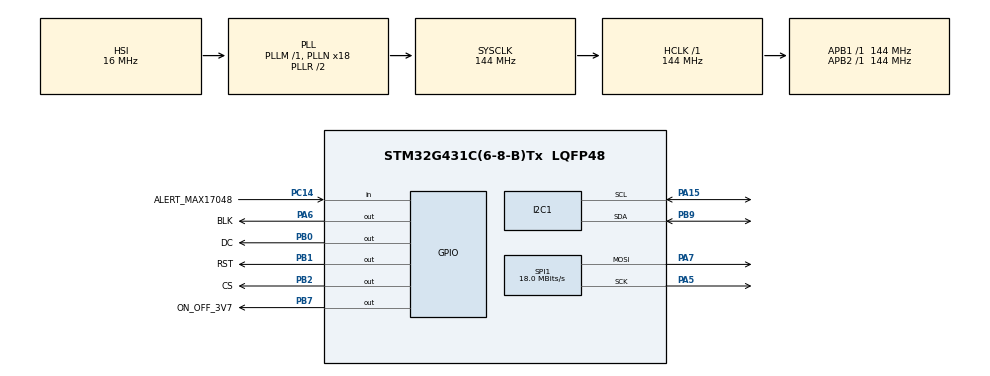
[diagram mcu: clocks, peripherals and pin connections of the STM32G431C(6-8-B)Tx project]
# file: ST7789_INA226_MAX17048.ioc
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I2C1.Timing=0x20B0D9FF
Mcu.Family=STM32G4
Mcu.Name=STM32G431C(6-8-B)Tx
Mcu.Package=LQFP48
NVIC.PriorityGroup=NVIC_PRIORITYGROUP_4
PA13.Mode=Serial_Wire
PA13.Signal=SYS_JTMS-SWDIO
PA14.Mode=Serial_Wire
PA14.Signal=SYS_JTCK-SWCLK
PA15.Mode=I2C
PA15.Signal=I2C1_SCL
PA5.Mode=TX_Only_Simplex_Unidirect_Master
PA5.Signal=SPI1_SCK
PA6.GPIO_Label=BLK
PA6.PinState=GPIO_PIN_SET
PA6.Signal=GPIO_Output
PA7.Mode=TX_Only_Simplex_Unidirect_Master
PA7.Signal=SPI1_MOSI
PB0.GPIO_Label=DC
PB0.GPIO_Speed=GPIO_SPEED_FREQ_VERY_HIGH
PB0.Signal=GPIO_Output
PB1.GPIO_Label=RST
PB1.GPIO_PuPd=GPIO_NOPULL
PB1.GPIO_Speed=GPIO_SPEED_FREQ_VERY_HIGH
PB1.Signal=GPIO_Output
PB2.GPIO_Label=CS
PB2.GPIO_PuPd=GPIO_NOPULL
PB2.GPIO_Speed=GPIO_SPEED_FREQ_VERY_HIGH
PB2.PinState=GPIO_PIN_SET
PB2.Signal=GPIO_Output
PB7.GPIO_Label=ON_OFF_3V7
PB7.Signal=GPIO_Output
PB9.Mode=I2C
PB9.Signal=I2C1_SDA
PC14-OSC32_IN.GPIO_Label=ALERT_MAX17048
PC14-OSC32_IN.Signal=GPIO_Input
PF0-OSC_IN.Mode=HSE-External-Oscillator
PF0-OSC_IN.Signal=RCC_OSC_IN
PF1-OSC_OUT.Mode=HSE-External-Oscillator
PF1-OSC_OUT.Signal=RCC_OSC_OUT
ProjectManager.HeapSize=0x200
ProjectManager.StackSize=0x400
ProjectManager.TargetToolchain=STM32CubeIDE
RCC.ADC12Freq_Value=144000000
RCC.AHBFreq_Value=144000000
RCC.APB1Freq_Value=144000000
RCC.APB1TimFreq_Value=144000000
RCC.APB2Freq_Value=144000000
RCC.APB2TimFreq_Value=144000000
RCC.CortexFreq_Value=144000000
RCC.EXTERNAL_CLOCK_VALUE=12288000
RCC.HCLKFreq_Value=144000000
RCC.HSE_VALUE=20000000
RCC.HSI48_VALUE=48000000
RCC.HSI_VALUE=16000000
RCC.LSE_VALUE=32768
RCC.PLLN=18
RCC.SYSCLKFreq_VALUE=144000000
RCC.SYSCLKSource=RCC_SYSCLKSOURCE_PLLCLK
RCC.USBFreq_Value=144000000
RCC.VCOOutputFreq_Value=288000000
SPI1.BaudRatePrescaler=SPI_BAUDRATEPRESCALER_8
SPI1.CLKPhase=SPI_PHASE_2EDGE
SPI1.CLKPolarity=SPI_POLARITY_HIGH
SPI1.CalculateBaudRate=18.0 MBits/s
SPI1.DataSize=SPI_DATASIZE_8BIT
SPI1.Direction=SPI_DIRECTION_2LINES
SPI1.Mode=SPI_MODE_MASTER
SPI1.VirtualType=VM_MASTER
board=custom

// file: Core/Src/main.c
/* USER CODE BEGIN Header */
/**
  ******************************************************************************
  * @file           : main.c
  * @brief          : Main program body
  ******************************************************************************
  * @attention
  *
  * Copyright (c) 2025 STMicroelectronics.
  * All rights reserved.
  *
  * This software is licensed under terms that can be found in the LICENSE file
  * in the root directory of this software component.
  * If no LICENSE file comes with this software, it is provided AS-IS.
  *
  ******************************************************************************
  */
/* USER CODE END Header */
#include "main.h"

/* USER CODE BEGIN Includes */
#include "stdio.h"
#include "Anglas_ST7789.h"
#include "fonts.h"
#include "math.h"
#include "bitmap.h"

#include "Anglas_MAX17048.h"
#include "Anglas_INA226.h"

/* USER CODE END Includes */

I2C_HandleTypeDef hi2c1;

SPI_HandleTypeDef hspi1;

/* USER CODE BEGIN PV */
uint16_t contInt=0;
float contFloat=0.0;
char buff[32];
float soc,voltage,current;

/* USER CODE END PV */

void SystemClock_Config(void);
static void MX_GPIO_Init(void);
static void MX_SPI1_Init(void);
static void MX_I2C1_Init(void);

int main(void)
{

  /* MCU Configuration--------------------------------------------------------*/

  /* Reset of all peripherals, Initializes the Flash interface and the Systick. */
  HAL_Init();

  /* Configure the system clock */
  SystemClock_Config();

  /* Initialize all configured peripherals */
  MX_GPIO_Init();
  MX_SPI1_Init();
  MX_I2C1_Init();
  /* USER CODE BEGIN 2 */
  ST7789_Init();
  ST7789_rotation(4);
  //ST7789_DrawImage(0, 0, 240, 135, img2);
  ST7789_FillScreen(ST7789_BLUE);

  MAX17048_Init();
  //MAX17048_Reset();
  //subir 1 vez, luego calibrar(conectando una carga ala bateria) en 4.16V de 97% y obtenido esto comentar esta linea y volver a subir y queda
  //MAX17048_QuickStart();
  //no es necesario hacer todo lo anterior, max170478 funciona 3.6v-4.2V 0-100% es asi de fabrica
  MAX17048_SetAlertThreshold(1);

  INA226_Init(3.2768,25,AVG_4,T_Vbus_8_244ms,T_Vshunt_8_244ms,MODE_SHUNT_BUS_CONTINUOUS);

  INA226_Mode_pinAlert(SHUNT_VOLTAGE_OVER);//superar la CORRIENTE de
  INA226_Alert_Limit(1000);//escribo el umbral para activar el pin alert

  /* USER CODE END 2 */

  /* Infinite loop */
  /* USER CODE BEGIN WHILE */
  while (1)
  {

	  float voltage_bat = MAX17048_GetVoltage();
	  sprintf(buff,"VOLTAGE: %1.2fV",voltage_bat);
	  ST7789_print(40, 50, RGB565(0, 255, 0) , RGB565(0, 0, 0) , 1, &Font_11x18, 1, buff);

	  soc = MAX17048_GetSoc();
	  sprintf(buff,"%3i%%",(uint8_t)soc);
	  ST7789_print(140, 5, RGB565(0, 0, 255) , RGB565(255, 255, 255) , 1, &Font_16x28, 1, buff);

	  ///////////////////
	  voltage = INA226_Vbus();
	  sprintf(buff,"V:%2.1fV ",voltage);
	  ST7789_print(0, 90, RGB565(255, 255, 0) , RGB565(0, 0, 0) , 1, &Font_11x18, 2, buff);

	  current = INA226_Current();
	  sprintf(buff,"I:%4.0fmA",current);
	  ST7789_print(0, 130, RGB565(255, 0, 255) , RGB565(0, 0, 0) , 1, &Font_11x18, 2, buff);

	  if(HAL_GPIO_ReadPin(ALERT_MAX17048_GPIO_Port, ALERT_MAX17048_Pin)==1){
		  ST7789_print(200, 130, RGB565(255, 0, 255) , RGB565(0, 0, 0) , 1, &Font_11x18, 2, "ON ");
	  }else{
		  ST7789_print(200, 130, RGB565(255, 0, 255) , RGB565(0, 0, 0) , 1, &Font_11x18, 2, "OFF");
	  }

    /* USER CODE END WHILE */

  }
}

void SystemClock_Config(void)
{
  RCC_OscInitTypeDef RCC_OscInitStruct = {0};
  RCC_ClkInitTypeDef RCC_ClkInitStruct = {0};

  /** Configure the main internal regulator output voltage
  */
  HAL_PWREx_ControlVoltageScaling(PWR_REGULATOR_VOLTAGE_SCALE1);

  /** Initializes the RCC Oscillators according to the specified parameters
  * in the RCC_OscInitTypeDef structure.
  */
  RCC_OscInitStruct.OscillatorType = RCC_OSCILLATORTYPE_HSI;
  RCC_OscInitStruct.HSIState = RCC_HSI_ON;
  RCC_OscInitStruct.HSICalibrationValue = RCC_HSICALIBRATION_DEFAULT;
  RCC_OscInitStruct.PLL.PLLState = RCC_PLL_ON;
  RCC_OscInitStruct.PLL.PLLSource = RCC_PLLSOURCE_HSI;
  RCC_OscInitStruct.PLL.PLLM = RCC_PLLM_DIV1;
  RCC_OscInitStruct.PLL.PLLN = 18;
  RCC_OscInitStruct.PLL.PLLP = RCC_PLLP_DIV2;
  RCC_OscInitStruct.PLL.PLLQ = RCC_PLLQ_DIV2;
  RCC_OscInitStruct.PLL.PLLR = RCC_PLLR_DIV2;
  if (HAL_RCC_OscConfig(&RCC_OscInitStruct) != HAL_OK)
  {
    Error_Handler();
  }

  /** Initializes the CPU, AHB and APB buses clocks
  */
  RCC_ClkInitStruct.ClockType = RCC_CLOCKTYPE_HCLK|RCC_CLOCKTYPE_SYSCLK
                              |RCC_CLOCKTYPE_PCLK1|RCC_CLOCKTYPE_PCLK2;
  RCC_ClkInitStruct.SYSCLKSource = RCC_SYSCLKSOURCE_PLLCLK;
  RCC_ClkInitStruct.AHBCLKDivider = RCC_SYSCLK_DIV1;
  RCC_ClkInitStruct.APB1CLKDivider = RCC_HCLK_DIV1;
  RCC_ClkInitStruct.APB2CLKDivider = RCC_HCLK_DIV1;

  if (HAL_RCC_ClockConfig(&RCC_ClkInitStruct, FLASH_LATENCY_4) != HAL_OK)
  {
    Error_Handler();
  }
}

static void MX_I2C1_Init(void)
{

  hi2c1.Instance = I2C1;
  hi2c1.Init.Timing = 0x20B0D9FF;
  hi2c1.Init.OwnAddress1 = 0;
  hi2c1.Init.AddressingMode = I2C_ADDRESSINGMODE_7BIT;
  hi2c1.Init.DualAddressMode = I2C_DUALADDRESS_DISABLE;
  hi2c1.Init.OwnAddress2 = 0;
  hi2c1.Init.OwnAddress2Masks = I2C_OA2_NOMASK;
  hi2c1.Init.GeneralCallMode = I2C_GENERALCALL_DISABLE;
  hi2c1.Init.NoStretchMode = I2C_NOSTRETCH_DISABLE;
  if (HAL_I2C_Init(&hi2c1) != HAL_OK)
  {
    Error_Handler();
  }

  /** Configure Analogue filter
  */
  if (HAL_I2CEx_ConfigAnalogFilter(&hi2c1, I2C_ANALOGFILTER_ENABLE) != HAL_OK)
  {
    Error_Handler();
  }

  /** Configure Digital filter
  */
  if (HAL_I2CEx_ConfigDigitalFilter(&hi2c1, 0) != HAL_OK)
  {
    Error_Handler();
  }

}

static void MX_SPI1_Init(void)
{

  /* SPI1 parameter configuration*/
  hspi1.Instance = SPI1;
  hspi1.Init.Mode = SPI_MODE_MASTER;
  hspi1.Init.Direction = SPI_DIRECTION_2LINES;
  hspi1.Init.DataSize = SPI_DATASIZE_8BIT;
  hspi1.Init.CLKPolarity = SPI_POLARITY_HIGH;
  hspi1.Init.CLKPhase = SPI_PHASE_2EDGE;
  hspi1.Init.NSS = SPI_NSS_SOFT;
  hspi1.Init.BaudRatePrescaler = SPI_BAUDRATEPRESCALER_8;
  hspi1.Init.FirstBit = SPI_FIRSTBIT_MSB;
  hspi1.Init.TIMode = SPI_TIMODE_DISABLE;
  hspi1.Init.CRCCalculation = SPI_CRCCALCULATION_DISABLE;
  hspi1.Init.CRCPolynomial = 7;
  hspi1.Init.CRCLength = SPI_CRC_LENGTH_DATASIZE;
  hspi1.Init.NSSPMode = SPI_NSS_PULSE_DISABLE;
  if (HAL_SPI_Init(&hspi1) != HAL_OK)
  {
    Error_Handler();
  }

}

static void MX_GPIO_Init(void)
{
  GPIO_InitTypeDef GPIO_InitStruct = {0};

  /* GPIO Ports Clock Enable */
  __HAL_RCC_GPIOC_CLK_ENABLE();
  __HAL_RCC_GPIOF_CLK_ENABLE();
  __HAL_RCC_GPIOA_CLK_ENABLE();
  __HAL_RCC_GPIOB_CLK_ENABLE();

  /*Configure GPIO pin Output Level */
  HAL_GPIO_WritePin(BLK_GPIO_Port, BLK_Pin, GPIO_PIN_SET);

  /*Configure GPIO pin Output Level */
  HAL_GPIO_WritePin(GPIOB, DC_Pin|RST_Pin|ON_OFF_3V7_Pin, GPIO_PIN_RESET);

  /*Configure GPIO pin Output Level */
  HAL_GPIO_WritePin(CS_GPIO_Port, CS_Pin, GPIO_PIN_SET);

  /*Configure GPIO pin : ALERT_MAX17048_Pin */
  GPIO_InitStruct.Pin = ALERT_MAX17048_Pin;
  GPIO_InitStruct.Mode = GPIO_MODE_INPUT;
  GPIO_InitStruct.Pull = GPIO_NOPULL;
  HAL_GPIO_Init(ALERT_MAX17048_GPIO_Port, &GPIO_InitStruct);

  /*Configure GPIO pin : BLK_Pin */
  GPIO_InitStruct.Pin = BLK_Pin;
  GPIO_InitStruct.Mode = GPIO_MODE_OUTPUT_PP;
  GPIO_InitStruct.Pull = GPIO_NOPULL;
  GPIO_InitStruct.Speed = GPIO_SPEED_FREQ_LOW;
  HAL_GPIO_Init(BLK_GPIO_Port, &GPIO_InitStruct);

  /*Configure GPIO pins : DC_Pin RST_Pin CS_Pin */
  GPIO_InitStruct.Pin = DC_Pin|RST_Pin|CS_Pin;
  GPIO_InitStruct.Mode = GPIO_MODE_OUTPUT_PP;
  GPIO_InitStruct.Pull = GPIO_NOPULL;
  GPIO_InitStruct.Speed = GPIO_SPEED_FREQ_VERY_HIGH;
  HAL_GPIO_Init(GPIOB, &GPIO_InitStruct);

  /*Configure GPIO pin : ON_OFF_3V7_Pin */
  GPIO_InitStruct.Pin = ON_OFF_3V7_Pin;
  GPIO_InitStruct.Mode = GPIO_MODE_OUTPUT_PP;
  GPIO_InitStruct.Pull = GPIO_NOPULL;
  GPIO_InitStruct.Speed = GPIO_SPEED_FREQ_LOW;
  HAL_GPIO_Init(ON_OFF_3V7_GPIO_Port, &GPIO_InitStruct);

}

void Error_Handler(void)
{
  __disable_irq();
  while (1)
  {
  }
}
